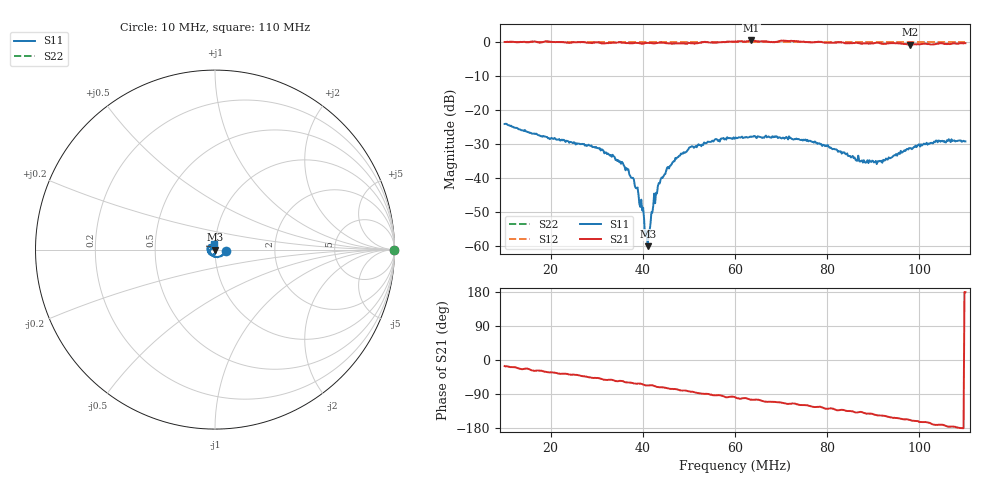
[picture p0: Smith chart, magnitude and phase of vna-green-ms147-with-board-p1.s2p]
! Anritsu VNA Master:  Model: MS2034B/10/19/501
! SN:  1337062
! /bd0/ovro-jan-2016/vna-jan/vna-ms147-with-board-p1.s2p
! Existing Calibration Information:
! TYPE:  Current Settings,  Active Cal Settings
! TIME:  01/13/2016 12:37:02 PM,  01/12/2016 05:57:47 PM
! INTERNAL TEMP:  43.8 C,  46.0 C
! # POINTS:  500,  500
! START FREQ:  10.000 MHz,  10.000 MHz
! STOP FREQ:  110.000 MHz,  110.000 MHz
! SOURCE POWER:  Low,  Low
! IFBW:  100 Hz,  1 kHz
! AVG FACTOR:  1 ,  3
! REF PLANE 1:  0 mm,  0 mm
! REF PLANE 2:  0 mm,  0 mm
! CAL TYPE:  1P2P S11,S21,  1P2P S11,S21
! CAL METHOD:  SOLT,  SOLT
! CAL LINE TYPE:  Coax,  Coax
! DUT PORT 1:  K-Conn(M),  K-Conn(M)
! DUT PORT 2:  N-Conn(M),  N-Conn(M)
! CAL STATUS:  OK: Accuracy High,  --
# GHZ S DB R 50.0
! FREQ.GHZ  S11DB  S11A  S21DB  S21A  S12DB  S12A  S22DB  S22A
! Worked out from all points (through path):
!   500 points, 10 MHz to 110 MHz, reference 50 ohm
!   highest |S21| = 0.39 dB at 63.51 MHz (marker M1); lowest = -0.8 dB at 97.98 MHz (marker M2)
!   group delay of S21, straight-line fit = 4.49 ns
!   lowest |S11| = -59.9 dB at 41.06 MHz (marker M3), VSWR 1.00, Z = 50 - j0.101 ohm
!   |S11| at or under -10 dB: start of sweep to end of sweep
!   |S22| runs from 0.0 to 0.0 dB; largest |S21 - S12| = 2
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0.01  -24.09 -4.7  -0.05 -16.1  0.00 0.0  0.00 0.0
0.02683367  -29.93 -153.5  -0.10 -42.3  0.00 0.0  0.00 0.0
0.03104208  -31.53 -179.4  -0.47 -50.0  0.00 0.0  0.00 0.0
0.03645291  -37.05 150.1  -0.38 -59.2  0.00 0.0  0.00 0.0
0.03845691  -42.89 142.5  -0.29 -62.3  0.00 0.0  0.00 0.0
0.03985972  -49.45 161.9  -0.55 -63.6  0.00 0.0  0.00 0.0
0.04066132  -55.52 171.1  -0.36 -67.2  0.00 0.0  0.00 0.0
0.04106212  -59.93 -93.5  -0.34 -67.1  0.00 0.0  0.00 0.0
0.04146293  -55.46 -96.1  -0.38 -66.7  0.00 0.0  0.00 0.0
0.04206413  -50.10 -70.0  -0.41 -66.9  0.00 0.0  0.00 0.0
0.04346693  -41.41 -72.5  -0.25 -71.7  0.00 0.0  0.00 0.0
0.04547094  -36.68 -79.8  -0.44 -74.8  0.00 0.0  0.00 0.0
0.05028056  -30.88 -101.4  -0.40 -83.1  0.00 0.0  0.00 0.0
0.0601002  -28.02 -151.4  0.11 -98.7  0.00 0.0  0.00 0.0
0.06350701  -27.88 -168.0  0.39 -104.6  0.00 0.0  0.00 0.0
0.07272545  -28.68 142.6  0.23 -114.9  0.00 0.0  0.00 0.0
0.07673347  -29.37 126.9  -0.20 -123.0  0.00 0.0  0.00 0.0
0.08735471  -34.94 118.8  -0.54 -137.0  0.00 0.0  0.00 0.0
0.09336673  -33.89 144.9  -0.44 -150.3  0.00 0.0  0.00 0.0
0.09797595  -31.22 147.3  -0.83 -158.1  0.00 0.0  0.00 0.0
0.103988  -29.46 128.3  -0.53 -171.4  0.00 0.0  0.00 0.0
0.11  -29.21 103.6  -0.40 179.0  0.00 0.0  0.00 0.0
